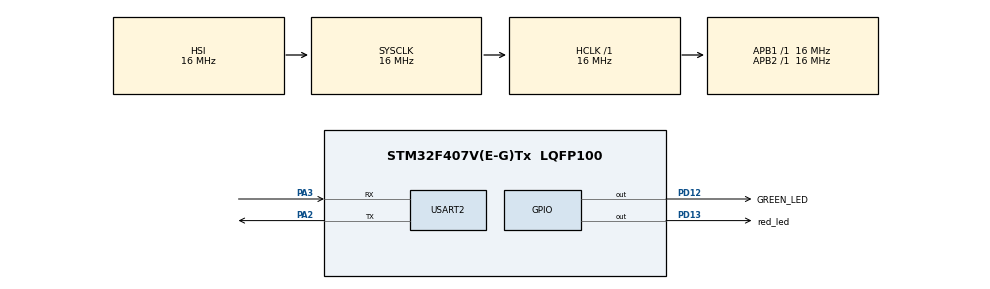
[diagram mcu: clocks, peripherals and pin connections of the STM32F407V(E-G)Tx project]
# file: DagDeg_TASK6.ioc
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Mcu.Family=STM32F4
Mcu.Name=STM32F407V(E-G)Tx
Mcu.Package=LQFP100
NVIC.PriorityGroup=NVIC_PRIORITYGROUP_4
NVIC.TIM2_IRQn=true\:0\:0\:false\:true\:true\:1\:true\:true\:true
PA2.GPIO_PuPd=GPIO_PULLDOWN
PA2.Mode=Asynchronous
PA2.Signal=USART2_TX
PA3.GPIO_PuPd=GPIO_PULLDOWN
PA3.Mode=Asynchronous
PA3.Signal=USART2_RX
PD12.GPIO_Label=GREEN_LED
PD12.Signal=GPIO_Output
PD13.GPIO_Label=red_led
PD13.Signal=GPIO_Output
ProjectManager.HeapSize=0x200
ProjectManager.StackSize=0x400
ProjectManager.TargetToolchain=STM32CubeIDE
RCC.AHBFreq_Value=16000000
RCC.APB1Freq_Value=16000000
RCC.APB2Freq_Value=16000000
RCC.CortexFreq_Value=16000000
RCC.HSE_VALUE=25000000
RCC.HSI_VALUE=16000000
RCC.LSE_VALUE=32768
RCC.SYSCLKFreq_VALUE=16000000
RCC.VCOOutputFreq_Value=192000000
TIM2.Period=2000-1
TIM2.Prescaler=1600-1
USART2.VirtualMode=VM_ASYNC
VP_TIM2_VS_ClockSourceINT.Mode=Internal
board=custom

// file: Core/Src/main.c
/* USER CODE BEGIN Header */
/**
 ******************************************************************************
 * @file           : main.c
 * @brief          : Main program body
 ******************************************************************************
 * @attention
 *
 * Copyright (c) 2025 STMicroelectronics.
 * All rights reserved.
 *
 * This software is licensed under terms that can be found in the LICENSE file
 * in the root directory of this software component.
 * If no LICENSE file comes with this software, it is provided AS-IS.
 *
 ******************************************************************************
 */
/* USER CODE END Header */
#include "main.h"
#include "tim.h"
#include "usart.h"
#include "gpio.h"

/* USER CODE BEGIN Includes */
#include <stdio.h>
#include <stdlib.h>
#include <string.h>
/* USER CODE END Includes */

/* USER CODE BEGIN PTD */
#define STRING_MODEx_SIZE 20
const char  STRING_MODE1[STRING_MODEx_SIZE]= "Mode chnage: 1 \n\r";
const char  STRING_MODE2[STRING_MODEx_SIZE]= "Mode chnage: 2 \n\r";
const char  STRING_MODE3[STRING_MODEx_SIZE]= "Mode chnage: 3 \n\r";

uint8_t rx_buff[2];
/* USER CODE END PTD */

void SystemClock_Config(void);
static void MX_NVIC_Init(void);

/* USER CODE BEGIN 0 */
#define MCU_FREQ (16000000U)
#define BAUDRATE_1 (4800U)
#define BAUDRATE_2 (9600U)
#define BAUDRATE_3 (19200U)
volatile uint8_t state = -1;

void HAL_TIM_PeriodElapsedCallback(TIM_HandleTypeDef *htim) {

		HAL_GPIO_TogglePin(GREEN_LED_GPIO_Port, GREEN_LED_Pin);

}
/* USER CODE END 0 */

int main(void)
{

  /* MCU Configuration--------------------------------------------------------*/

  /* Reset of all peripherals, Initializes the Flash interface and the Systick. */
  HAL_Init();

  /* Configure the system clock */
  SystemClock_Config();

  /* Initialize all configured peripherals */
  MX_GPIO_Init();
  MX_TIM2_Init();
  MX_USART2_UART_Init();

  /* Initialize interrupts */
  MX_NVIC_Init();

  /* Infinite loop */
  /* USER CODE BEGIN WHILE */
//  HAL_TIM_Base_Stop_IT(&htim2) ;

  while (1) {
		HAL_UART_Receive(&huart2, rx_buff, 2, HAL_MAX_DELAY);
		if (rx_buff[0] == '1') {

			HAL_UART_Transmit(&huart2, (uint8_t*) STRING_MODE1,STRING_MODEx_SIZE, HAL_MAX_DELAY);

			HAL_TIM_Base_Start_IT(&htim2) ;
			huart2.Instance->BRR = ((MCU_FREQ + (BAUDRATE_1 / 2)) / BAUDRATE_1);
			// set period of 2s
			HAL_TIM_Base_Stop_IT(&htim2) ;
			htim2.Instance->PSC = 16000 - 1;
			htim2.Instance->CNT = 2000 - 1;
			HAL_TIM_Base_Start_IT(&htim2) ;
		} else if (rx_buff[0] == '2') {

			HAL_UART_Transmit(&huart2, (uint8_t*) STRING_MODE2,STRING_MODEx_SIZE, HAL_MAX_DELAY);
			HAL_TIM_Base_Stop_IT(&htim2) ;
			// set period of 1s
			huart2.Instance->BRR = ((MCU_FREQ + (BAUDRATE_2 / 2)) / BAUDRATE_2);

			htim2.Instance->PSC = 16000 - 1;
			htim2.Instance->CNT = 1000 - 1;
			HAL_TIM_Base_Start_IT(&htim2) ;
		} else if (rx_buff[0] == '3') {
			HAL_UART_Transmit(&huart2, (uint8_t*) STRING_MODE3,STRING_MODEx_SIZE, HAL_MAX_DELAY);
			HAL_TIM_Base_Stop_IT(&htim2) ;
			huart2.Instance->BRR = ((MCU_FREQ + (BAUDRATE_3 / 2)) / BAUDRATE_3);
			// set period of 200 s
			htim2.Instance->PSC = 1600 - 1;
			htim2.Instance->CNT = 2000 - 1;
			HAL_TIM_Base_Start_IT(&htim2) ;

		} else {
			HAL_TIM_Base_Stop_IT(&htim2) ;

		}
    /* USER CODE END WHILE */

	}
}

void SystemClock_Config(void)
{
  RCC_OscInitTypeDef RCC_OscInitStruct = {0};
  RCC_ClkInitTypeDef RCC_ClkInitStruct = {0};

  /** Configure the main internal regulator output voltage
  */
  __HAL_RCC_PWR_CLK_ENABLE();
  __HAL_PWR_VOLTAGESCALING_CONFIG(PWR_REGULATOR_VOLTAGE_SCALE1);

  /** Initializes the RCC Oscillators according to the specified parameters
  * in the RCC_OscInitTypeDef structure.
  */
  RCC_OscInitStruct.OscillatorType = RCC_OSCILLATORTYPE_HSI;
  RCC_OscInitStruct.HSIState = RCC_HSI_ON;
  RCC_OscInitStruct.HSICalibrationValue = RCC_HSICALIBRATION_DEFAULT;
  RCC_OscInitStruct.PLL.PLLState = RCC_PLL_NONE;
  if (HAL_RCC_OscConfig(&RCC_OscInitStruct) != HAL_OK)
  {
    Error_Handler();
  }

  /** Initializes the CPU, AHB and APB buses clocks
  */
  RCC_ClkInitStruct.ClockType = RCC_CLOCKTYPE_HCLK|RCC_CLOCKTYPE_SYSCLK
                              |RCC_CLOCKTYPE_PCLK1|RCC_CLOCKTYPE_PCLK2;
  RCC_ClkInitStruct.SYSCLKSource = RCC_SYSCLKSOURCE_HSI;
  RCC_ClkInitStruct.AHBCLKDivider = RCC_SYSCLK_DIV1;
  RCC_ClkInitStruct.APB1CLKDivider = RCC_HCLK_DIV1;
  RCC_ClkInitStruct.APB2CLKDivider = RCC_HCLK_DIV1;

  if (HAL_RCC_ClockConfig(&RCC_ClkInitStruct, FLASH_LATENCY_0) != HAL_OK)
  {
    Error_Handler();
  }
}

/**
  * @brief NVIC Configuration.
  * @retval None
  */
static void MX_NVIC_Init(void)
{
  /* TIM2_IRQn interrupt configuration */
  HAL_NVIC_SetPriority(TIM2_IRQn, 0, 0);
  HAL_NVIC_EnableIRQ(TIM2_IRQn);
}

void Error_Handler(void)
{
	__disable_irq();
	while (1) {
	}
}
